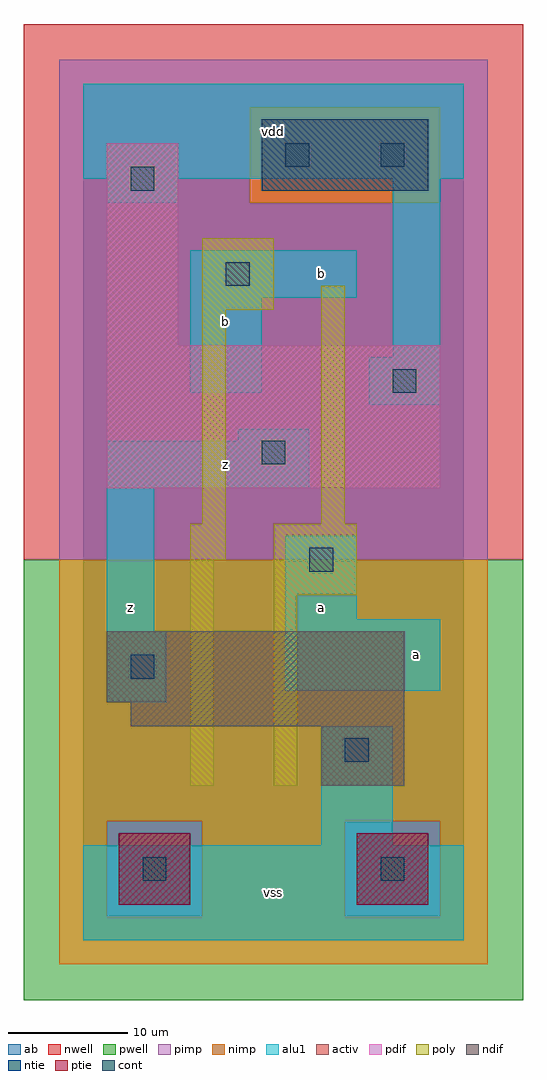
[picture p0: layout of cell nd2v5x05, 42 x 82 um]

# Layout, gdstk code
import gdstk
lib = gdstk.Library(unit=1e-6, precision=1e-09)
def R(c, l, rs):  # rectangles x0, y0, x1, y1
    for r in rs: c.add(gdstk.rectangle(r[:2], r[2:], *l))
ndif = (3, 0)
pdif = (4, 0)
ntie = (5, 0)
ptie = (6, 0)
cont = (25, 0)
pwell = (41, 0)
nwell = (42, 0)
activ = (43, 0)
pimp = (44, 0)
nimp = (45, 0)
poly = (46, 0)
alu1 = (49, 0)
ab = (63, 0)

nd2v5x05 = lib.new_cell('nd2v5x05')
R(nd2v5x05, ndif, [(20,13,27,18), (4,18,27,20), (2,20,27,26)])
R(nd2v5x05, pdif, [(2,38,30,50), (2,50,8,67)])
R(nd2v5x05, ntie, [(15,63,29,69)])
R(nd2v5x05, ptie, [(3,3,9,9), (23,3,29,9)])
R(nd2v5x05, cont, [(5,5,7,7), (25,5,27,7), (22,15,24,17), (4,22,6,24), (19,31,21,33), (15,40,17,42), (26,46,28,48), (12,55,14,57), (4,63,6,65), (17,65,19,67), (25,65,27,67)])
R(nd2v5x05, pwell, [(-5,-5,37,32)])
R(nd2v5x05, nwell, [(-5,32,37,77)])
R(nd2v5x05, activ, [(3,3,9,9), (23,3,29,9), (20,13,27,18), (4,18,27,20), (2,20,27,26), (2,38,30,50), (2,50,8,67), (15,63,29,69)])
R(nd2v5x05, pimp, [(2,2,10,10), (22,2,30,10), (-2,32,34,62), (-2,62,14,70), (30,62,34,70), (-2,70,34,74)])
R(nd2v5x05, nimp, [(-2,-2,34,2), (-2,2,2,10), (10,2,22,10), (30,2,34,10), (-2,10,34,32), (14,62,30,70)])
R(nd2v5x05, poly, [(9,13,11,32), (16,13,18,29), (16,29,23,35), (9,32,12,35), (10,35,12,53), (20,35,22,55), (10,53,16,59)])
R(nd2v5x05, alu1, [(0,0,32,8), (20,8,26,18), (2,20,7,26), (17,21,30,27), (2,26,6,38), (17,27,23,34), (2,38,19,42), (13,42,19,43), (24,45,30,49), (9,46,15,54), (26,49,30,64), (9,54,23,58), (2,62,8,64), (0,64,32,72)])
R(nd2v5x05, ab, [(0,0,32,72)])
nd2v5x05.add(gdstk.Label('z', (4,28), layer=49, texttype=0))
nd2v5x05.add(gdstk.Label('z', (12,40), layer=49, texttype=0))
nd2v5x05.add(gdstk.Label('b', (12,52), layer=49, texttype=0))
nd2v5x05.add(gdstk.Label('vss', (16,4), layer=49, texttype=0))
nd2v5x05.add(gdstk.Label('a', (20,28), layer=49, texttype=0))
nd2v5x05.add(gdstk.Label('b', (20,56), layer=49, texttype=0))
nd2v5x05.add(gdstk.Label('vdd', (16,68), layer=49, texttype=0))
nd2v5x05.add(gdstk.Label('a', (28,24), layer=49, texttype=0))

lib.write_gds('nd2v5x05.gds')
